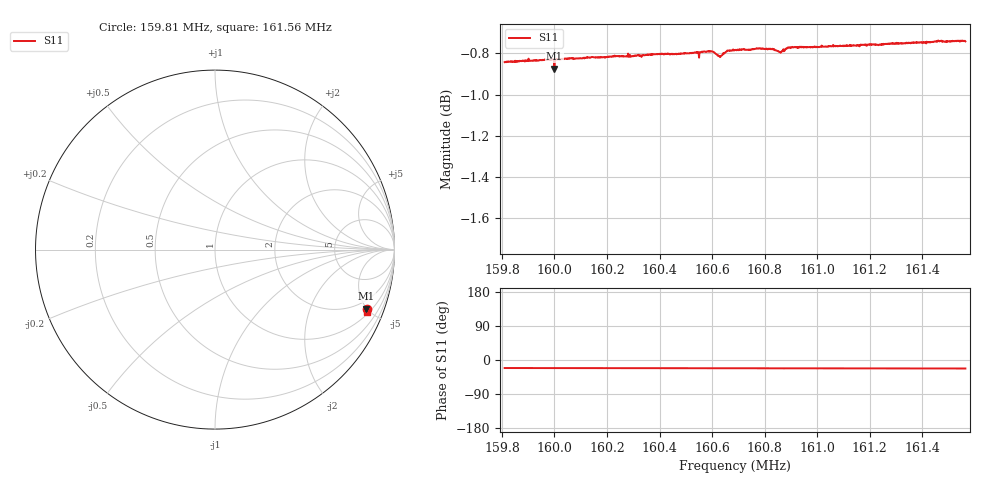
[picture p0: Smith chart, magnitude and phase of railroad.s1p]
! Calibrated averaged scanner-service zoom
# Hz S RI R 50
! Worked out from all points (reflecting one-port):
!   1001 points, 159.81 MHz to 161.56 MHz, reference 50 ohm
!   lowest |S11| = -0.9 dB at 160 MHz (marker M1), VSWR 19.88, Z = 68.6 - j247 ohm
!   phase of S11 starts at -21 deg and turns -1 deg over the sweep
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1.5981e8  0.846 -0.3285
1.599715e8  0.8466 -0.3305
1.599995e8  0.8423 -0.3288
1.600294e8  0.8467 -0.3312
1.602488e8  0.8472 -0.3339
1.602909e8  0.8468 -0.3344
1.604014e8  0.8475 -0.3356
1.604681e8  0.8473 -0.3368
1.604962e8  0.8475 -0.3367
1.605945e8  0.8482 -0.3379
1.60605e8  0.8481 -0.3378
1.606226e8  0.847 -0.3357
1.606296e8  0.8464 -0.3347
1.606366e8  0.8468 -0.3356
1.606612e8  0.8482 -0.3389
1.606875e8  0.8485 -0.3391
1.607384e8  0.8481 -0.3399
1.607735e8  0.8487 -0.3404
1.608226e8  0.8482 -0.341
1.608367e8  0.848 -0.3417
1.608595e8  0.8454 -0.3436
1.608683e8  0.8462 -0.343
1.608876e8  0.8483 -0.3421
1.609069e8  0.8487 -0.3423
1.611262e8  0.8489 -0.3449
1.613456e8  0.8488 -0.3477
1.614667e8  0.8491 -0.3493
1.61565e8  0.8487 -0.3503
